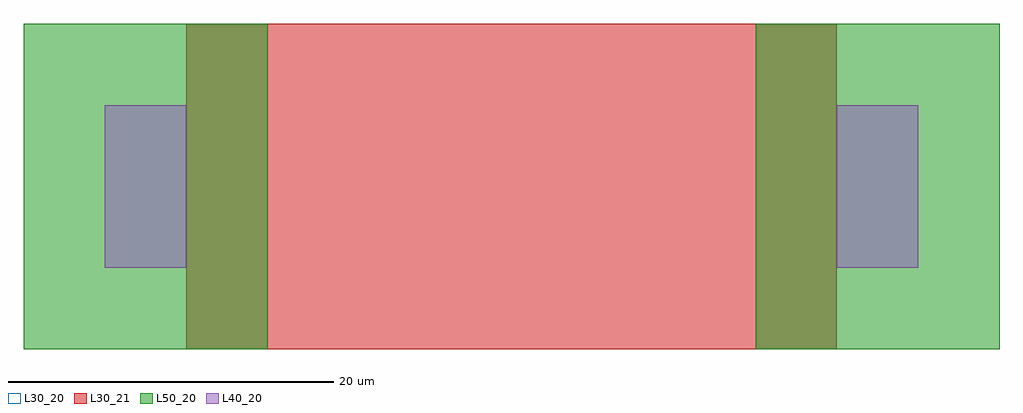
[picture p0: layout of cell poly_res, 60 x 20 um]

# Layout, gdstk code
import gdstk
lib = gdstk.Library(unit=1e-6, precision=1e-09)
def R(c, l, rs):  # rectangles x0, y0, x1, y1
    for r in rs: c.add(gdstk.rectangle(r[:2], r[2:], *l))
L30_20 = (30, 20)
L30_21 = (30, 21)
L40_20 = (40, 20)
L50_20 = (50, 20)

poly_res = lib.new_cell('poly_res')
R(poly_res, L30_20, [(-30,-10,30,10)])
R(poly_res, L30_21, [(-20,-10,20,10)])
R(poly_res, L40_20, [(-25,-5,-20,5), (20,-5,25,5)])
R(poly_res, L50_20, [(-30,-10,-15,10), (15,-10,30,10)])

lib.write_gds('poly_res.gds')
